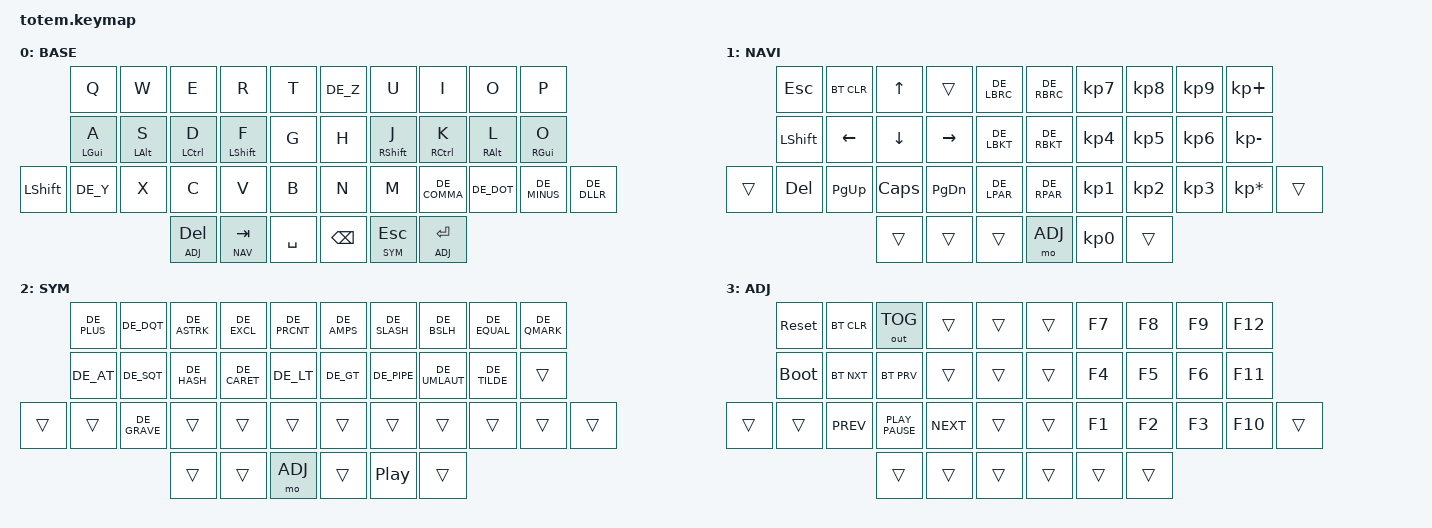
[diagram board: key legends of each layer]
//
//                                                        ▀▀▀▀▀     ▀▀▀▀▀          ▀▀█▀▀
//                                                        ▄▀▀▀▄  ▄  ▄▀▀▀▄  ▄  ▄▀▀▀▄  █  ▄▀▀▀▄
//                                                        █   █  █  █   █  █  █   █  █  █   █
//                                                         ▀▀▀   █   ▀▀▀   █   ▀▀▀   ▀   ▀▀▀
//                                                               █      ▄▄▄█▄▄▄    █   █  
//                                                               ▀      █  █  █     █▄█
//                                                             ▀▀▀▀▀    █  █  █      ▀
//                                                                      ▀  ▀  ▀
//
// ▄▄▄▄▄▄▄▄▄▄▄▄▄▄▄▄▄▄▄▄▄▄▄▄▄▄▄▄▄▄▄▄▄▄▄▄▄▄▄▄▄▄▄▄▄▄▄▄▄▄▄▄▄▄▄▄▄▄▄▄▄▄▄▄▄▄▄▄▄▄▄▄▄▄▄▄▄▄▄▄▄▄▄▄▄▄▄▄▄▄▄▄▄▄▄▄▄▄▄▄▄▄▄▄▄▄▄▄▄▄▄▄▄▄▄▄▄▄▄▄▄▄▄▄▄▄▄▄▄▄▄▄▄▄▄▄▄▄▄▄▄▄▄▄▄▄▄▄▄

#include <behaviors.dtsi>
#include <dt-bindings/zmk/bt.h>
#include <dt-bindings/zmk/keys.h>
#include <dt-bindings/zmk/outputs.h>
#include "zmk-helpers/helper.h"
#include "zmk-helpers/key-labels/totem.h"
#include <locale/keys_de_swiss.h>

#define BASE 0
#define NAV  1
#define SYM  2
#define ADJ  3

#define KEYS_L LT0 LT1 LT2 LT3 LT4 LM0 LM1 LM2 LM3 LM4 LB0 LB1 LB2 LB3 LB4 LB5  // left hand
#define KEYS_R RT0 RT1 RT2 RT3 RT4 RM0 RM1 RM2 RM3 RM4 RB0 RB1 RB2 RB3 RB4 RB5  // right hand
#define THUMBS LH2 LH1 LH0 RH0 RH1 RH2

#define COMBO_TERM_FAST 20
#define COMBO_TERM_SLOW 30
#define COMBO_IDLE_FAST 120
#define COMBO_IDLE_SLOW 50

// Hack: Make HRM combos tap-only (cf, ZMK issue #544).
#define ZMK_COMBO_8(NAME, TAP, POS, LAYERS, COMBO_MS, IDLE_MS, HOLD, SIDE)     \
  MAKE_HRM(hm_combo_##NAME, &kp, TAP, SIDE THUMBS)                             \
  ZMK_COMBO_6(NAME, &hm_combo_##NAME HOLD 0, POS, LAYERS, COMBO_MS, IDLE_MS)

/* left-hand HRMs */
ZMK_HOLD_TAP(hml,
    flavor = "balanced";
    tapping-term-ms = <280>;
    quick-tap-ms = <175>;                // repeat on tap-into-hold
    require-prior-idle-ms = <120>;
    bindings = <&kp>, <&kp>;
    hold-trigger-key-positions = <KEYS_R THUMBS>;
    hold-trigger-on-release;             // delay positional check until key-release
)

/* right-hand HRMs */
ZMK_HOLD_TAP(hmr,
    flavor = "balanced";
    tapping-term-ms = <280>;
    quick-tap-ms = <175>;                // repeat on tap-into-hold
    require-prior-idle-ms = <120>;
    bindings = <&kp>, <&kp>;
    hold-trigger-key-positions = <KEYS_L THUMBS>;
    hold-trigger-on-release;             // delay positional check until key-release
)

&caps_word {
  continue-list = <LSHIFT RSHIFT DEL BSPC UNDERSCORE KP_MINUS KP_N0 KP_N1 KP_N2 KP_N3 KP_N4 KP_N5 KP_N6 KP_N7 KP_N8 KP_N9>;
};

// Brace combos
ZMK_COMBO(lbrc,  &kp DE_LBRC,     RT1 RT2,    BASE NAV SYM, COMBO_TERM_FAST, COMBO_IDLE_FAST)
ZMK_COMBO(rbrc,  &kp DE_RBRC,     RT2 RT3,    BASE NAV SYM, COMBO_TERM_FAST, COMBO_IDLE_FAST)
ZMK_COMBO(lbkt,  &kp DE_LBKT,     RM1 RM2,    BASE NAV SYM, COMBO_TERM_FAST, COMBO_IDLE_FAST)
ZMK_COMBO(rbkt,  &kp DE_RBKT,     RM2 RM3,    BASE NAV SYM, COMBO_TERM_FAST, COMBO_IDLE_FAST)
ZMK_COMBO(lpar,  &kp DE_LPAR,     RB1 RB2,    BASE NAV SYM, COMBO_TERM_FAST, COMBO_IDLE_FAST)
ZMK_COMBO(rpar,  &kp DE_RPAR,     RB2 RB3,    BASE NAV SYM, COMBO_TERM_FAST, COMBO_IDLE_FAST)

// Copy-paste
ZMK_COMBO(cut,   &kp LC(X),       LB3 LB1,    BASE NAV SYM, COMBO_TERM_FAST, COMBO_IDLE_FAST)
ZMK_COMBO(copy,  &kp LC(INS),     LB3 LB2,    BASE NAV SYM, COMBO_TERM_FAST, COMBO_IDLE_FAST)
ZMK_COMBO(paste, &kp LS(INS),     LB2 LB1,    BASE NAV SYM, COMBO_TERM_FAST, COMBO_IDLE_FAST)

// Capsword
ZMK_COMBO(cwcombo, &caps_word,    LM4 LM3,    BASE NAV SYM, COMBO_TERM_SLOW, COMBO_IDLE_SLOW)

// Enter
ZMK_COMBO(renter,  &kp RET,   RM1 RM2 RM3,    BASE NAV SYM, COMBO_TERM_SLOW, COMBO_IDLE_SLOW)
ZMK_COMBO(lenter,  &kp RET,   LM1 LM2 LM3,    BASE NAV SYM, COMBO_TERM_SLOW, COMBO_IDLE_SLOW)

// Esc
ZMK_COMBO(lesc,    &kp ESC,       LT4 LT3,    BASE NAV SYM, COMBO_TERM_FAST, COMBO_IDLE_FAST)

/ {
    combos {
      compatible = "zmk,combos";
    };
    
    macros {
    };

    keymap {
        compatible = "zmk,keymap";

        // ▄▄▄▄▄▄▄▄▄▄▄▄▄▄▄▄▄▄▄▄▄▄▄▄▄▄▄▄▄▄▄▄▄▄▄▄▄▄▄▄▄▄▄▄▄▄▄▄▄▄▄▄▄▄▄▄▄▄▄▄▄▄▄▄▄▄▄▄▄▄▄▄▄▄▄▄▄▄▄▄▄▄▄▄▄▄▄▄▄▄▄▄▄▄▄▄▄▄▄▄▄▄▄▄▄▄▄▄▄▄▄▄▄▄▄▄▄▄▄▄▄▄▄▄▄▄▄▄▄▄▄▄▄▄▄▄▄▄▄▄▄▄▄▄▄▄▄▄▄

        base_layer {
            // ┏━━━━━━━━━━━━━━━━━━━━━━━━━━━━━━━━━━━━━━━┓
            label= "BASE"                              ;
            // ┗━━━━━━━━━━━━━━━━━━━━━━━━━━━━━━━━━━━━━━━┛
            //             ┏━━━━━━━━━━━┳━━━━━━━━━━━┳━━━━━━━━━━━┳━━━━━━━━━━━┳━━━━━━━━━━━┓   ┏━━━━━━━━━━━┳━━━━━━━━━━━┳━━━━━━━━━━━┳━━━━━━━━━━━┳━━━━━━━━━━━┓
            //             ┃     Q     ┃     W     ┃     E     ┃     R     ┃     T     ┃   ┃     Z     ┃     U     ┃     I     ┃     O     ┃     P     ┃
            //             ┣━━━━━━━━━━━╋━━━━━━━━━━━╋━━━━━━━━━━━╋━━━━━━━━━━━╋━━━━━━━━━━━┫   ┣━━━━━━━━━━━╋━━━━━━━━━━━╋━━━━━━━━━━━╋━━━━━━━━━━━╋━━━━━━━━━━━┫
            //             ┃     A     ┃     S     ┃     D     ┃     F     ┃     G     ┃   ┃     H     ┃     J     ┃     K     ┃     L     ┃           ┃
            // ┏━━━━━━━━━━━╋━━━━━━━━━━━╋━━━━━━━━━━━╋━━━━━━━━━━━╋━━━━━━━━━━━╋━━━━━━━━━━━┫   ┣━━━━━━━━━━━╋━━━━━━━━━━━╋━━━━━━━━━━━╋━━━━━━━━━━━╋━━━━━━━━━━━╋━━━━━━━━━━━┓
            // ┃   SHFT    ┃     Y     ┃     X     ┃     C     ┃     V     ┃     B     ┃   ┃     N     ┃     M     ┃     ,     ┃     .     ┃     -     ┃     $     ┃
            // ┗━━━━━━━━━━━┻━━━━━━━━━━━┻━━━━━━━━━━━╋━━━━━━━━━━━╋━━━━━━━━━━━╋━━━━━━━━━━━┫   ┣━━━━━━━━━━━╋━━━━━━━━━━━╋━━━━━━━━━━━╋━━━━━━━━━━━┻━━━━━━━━━━━┻━━━━━━━━━━━┛
            //                                     ┃    DEL    ┃    TAB    ┃    SPC    ┃   ┃   ENTER   ┃           ┃   BSPC    ┃
            //                                     ┗━━━━━━━━━━━┻━━━━━━━━━━━┻━━━━━━━━━━━┛   ┗━━━━━━━━━━━┻━━━━━━━━━━━┻━━━━━━━━━━━┛
             bindings = <
            // ╷           ╷           ╷           ╷           ╷           ╷           ╷   ╷           ╷           ╷           ╷           ╷           ╷           ╷
            
                            &kp Q       &kp W       &kp E        &kp R        &kp T           &kp DE_Z    &kp U        &kp I        &kp O        &kp P
                            &hml LGUI A &hml LALT S &hml LCTRL D &hml LSHFT F &kp G           &kp H       &hmr RSHFT J &hmr RCTRL K &hmr RALT L  &hmr RGUI O
                &kp LSHFT   &kp DE_Y    &kp X       &kp C        &kp V        &kp B           &kp N       &kp M        &kp DE_COMMA &kp DE_DOT   &kp DE_MINUS &kp DE_DLLR
                                                    &lt ADJ DEL  &lt NAV TAB  &kp SPACE       &kp BSPC    &lt SYM ESC  &lt ADJ RET
                                    >;
                            };


        // ▄▄▄▄▄▄▄▄▄▄▄▄▄▄▄▄▄▄▄▄▄▄▄▄▄▄▄▄▄▄▄▄▄▄▄▄▄▄▄▄▄▄▄▄▄▄▄▄▄▄▄▄▄▄▄▄▄▄▄▄▄▄▄▄▄▄▄▄▄▄▄▄▄▄▄▄▄▄▄▄▄▄▄▄▄▄▄▄▄▄▄▄▄▄▄▄▄▄▄▄▄▄▄▄▄▄▄▄▄▄▄▄▄▄▄▄▄▄▄▄▄▄▄▄▄▄▄▄▄▄▄▄▄▄▄▄▄▄▄▄▄▄▄▄▄▄▄▄▄

        nav_layer {
            // ┏━━━━━━━━━━━━━━━━━━━━━━━━━━━━━━━━━━━━━━━┓

            label = "NAVI";

            // ┗━━━━━━━━━━━━━━━━━━━━━━━━━━━━━━━━━━━━━━━┛
            //             ┏━━━━━━━━━━━┳━━━━━━━━━━━┳━━━━━━━━━━━┳━━━━━━━━━━━┳━━━━━━━━━━━┓   ┏━━━━━━━━━━━┳━━━━━━━━━━━┳━━━━━━━━━━━┳━━━━━━━━━━━┳━━━━━━━━━━━┓
            //             ┃           ┃           ┃     UP    ┃           ┃     {     ┃   ┃     }     ┃     7     ┃     8     ┃     9     ┃     +     ┃
            //             ┣━━━━━━━━━━━╋━━━━━━━━━━━╋━━━━━━━━━━━╋━━━━━━━━━━━╋━━━━━━━━━━━┫   ┣━━━━━━━━━━━╋━━━━━━━━━━━╋━━━━━━━━━━━╋━━━━━━━━━━━╋━━━━━━━━━━━┫
            //             ┃   SHIFT   ┃   LEFT    ┃    DOWN   ┃   RIGHT   ┃     [     ┃   ┃     ]     ┃     4     ┃     5     ┃     6     ┃     -     ┃
            // ┏━━━━━━━━━━━╋━━━━━━━━━━━╋━━━━━━━━━━━╋━━━━━━━━━━━╋━━━━━━━━━━━╋━━━━━━━━━━━┫   ┣━━━━━━━━━━━╋━━━━━━━━━━━╋━━━━━━━━━━━╋━━━━━━━━━━━╋━━━━━━━━━━━╋━━━━━━━━━━━┓
            // ┃           ┃           ┃   P UP    ┃  C LOCK   ┃  P DOWN   ┃     (     ┃   ┃     )     ┃     1     ┃     2     ┃     3     ┃     *     ┃           ┃
            // ┗━━━━━━━━━━━┻━━━━━━━━━━━┻━━━━━━━━━━━╋━━━━━━━━━━━╋━━━━━━━━━━━╋━━━━━━━━━━━┫   ┣━━━━━━━━━━━╋━━━━━━━━━━━╋━━━━━━━━━━━╋━━━━━━━━━━━┻━━━━━━━━━━━┻━━━━━━━━━━━┛
            //                                     ┃           ┃    TAB    ┃    SPC    ┃   ┃    DEL    ┃     0     ┃           ┃
            //                                     ┗━━━━━━━━━━━┻━━━━━━━━━━━┻━━━━━━━━━━━┛   ┗━━━━━━━━━━━┻━━━━━━━━━━━┻━━━━━━━━━━━┛

            bindings = <
        &kp ESC    &bt BT_CLR  &kp UP    &trans     &kp DE_LBRC    &kp DE_RBRC  &kp KP_N7  &kp KP_N8  &kp KP_N9  &kp KP_PLUS
        &kp LSHFT  &kp LEFT    &kp DOWN  &kp RIGHT  &kp DE_LBKT    &kp DE_RBKT  &kp KP_N4  &kp KP_N5  &kp KP_N6  &kp KP_MINUS
&trans  &kp DEL    &kp PG_UP   &kp CAPS  &kp PG_DN  &kp DE_LPAR    &kp DE_RPAR  &kp KP_N1  &kp KP_N2  &kp KP_N3  &kp KP_MULTIPLY  &trans
                               &trans    &trans     &trans         &mo ADJ      &kp KP_N0  &trans
            >;
        };

        // ▄▄▄▄▄▄▄▄▄▄▄▄▄▄▄▄▄▄▄▄▄▄▄▄▄▄▄▄▄▄▄▄▄▄▄▄▄▄▄▄▄▄▄▄▄▄▄▄▄▄▄▄▄▄▄▄▄▄▄▄▄▄▄▄▄▄▄▄▄▄▄▄▄▄▄▄▄▄▄▄▄▄▄▄▄▄▄▄▄▄▄▄▄▄▄▄▄▄▄▄▄▄▄▄▄▄▄▄▄▄▄▄▄▄▄▄▄▄▄▄▄▄▄▄▄▄▄▄▄▄▄▄▄▄▄▄▄▄▄▄▄▄▄▄▄▄▄▄▄

        sim_layer {
            // ┏━━━━━━━━━━━━━━━━━━━━━━━━━━━━━━━━━━━━━━━┓

            label = "SYM";

            // ┗━━━━━━━━━━━━━━━━━━━━━━━━━━━━━━━━━━━━━━━┛
            //             ┏━━━━━━━━━━━┳━━━━━━━━━━━┳━━━━━━━━━━━┳━━━━━━━━━━━┳━━━━━━━━━━━┓   ┏━━━━━━━━━━━┳━━━━━━━━━━━┳━━━━━━━━━━━┳━━━━━━━━━━━┳━━━━━━━━━━━┓
            //             ┃     +     ┃     "     ┃     *     ┃     !     ┃     %     ┃   ┃     &     ┃     /     ┃     \     ┃     =     ┃     ?     ┃
            //             ┣━━━━━━━━━━━╋━━━━━━━━━━━╋━━━━━━━━━━━╋━━━━━━━━━━━╋━━━━━━━━━━━┫   ┣━━━━━━━━━━━╋━━━━━━━━━━━╋━━━━━━━━━━━╋━━━━━━━━━━━╋━━━━━━━━━━━┫
            //             ┃     @     ┃     '     ┃     #     ┃     ^     ┃     <     ┃   ┃     >     ┃     |     ┃     ¨     ┃     ~     ┃           ┃
            // ┏━━━━━━━━━━━╋━━━━━━━━━━━╋━━━━━━━━━━━╋━━━━━━━━━━━╋━━━━━━━━━━━╋━━━━━━━━━━━┫   ┣━━━━━━━━━━━╋━━━━━━━━━━━╋━━━━━━━━━━━╋━━━━━━━━━━━╋━━━━━━━━━━━╋━━━━━━━━━━━┓
            // ┃           ┃           ┃     `     ┃           ┃           ┃           ┃   ┃           ┃           ┃           ┃           ┃           ┃           ┃
            // ┗━━━━━━━━━━━┻━━━━━━━━━━━┻━━━━━━━━━━━╋━━━━━━━━━━━╋━━━━━━━━━━━╋━━━━━━━━━━━┫   ┣━━━━━━━━━━━╋━━━━━━━━━━━╋━━━━━━━━━━━╋━━━━━━━━━━━┻━━━━━━━━━━━┻━━━━━━━━━━━┛
            //                                     ┃           ┃    GIF    ┃    ADJ    ┃   ┃           ┃           ┃           ┃
            //                                     ┗━━━━━━━━━━━┻━━━━━━━━━━━┻━━━━━━━━━━━┛   ┗━━━━━━━━━━━┻━━━━━━━━━━━┻━━━━━━━━━━━┛

            bindings = <
            &kp DE_PLUS  &kp DE_DQT   &kp DE_ASTRK  &kp DE_EXCL   &kp DE_PRCNT                    &kp DE_AMPS  &kp DE_SLASH  &kp DE_BSLH   &kp DE_EQUAL  &kp DE_QMARK 
            &kp DE_AT    &kp DE_SQT   &kp DE_HASH   &kp DE_CARET  &kp DE_LT                       &kp DE_GT    &kp DE_PIPE   &kp DE_UMLAUT &kp DE_TILDE  &trans
   &trans   &trans       &kp DE_GRAVE &trans        &trans        &trans                          &trans       &trans        &trans        &trans        &trans   &trans
                                      &trans        &trans        &mo ADJ                         &trans       &kp C_PP      &trans
            >;
        };

        // ▄▄▄▄▄▄▄▄▄▄▄▄▄▄▄▄▄▄▄▄▄▄▄▄▄▄▄▄▄▄▄▄▄▄▄▄▄▄▄▄▄▄▄▄▄▄▄▄▄▄▄▄▄▄▄▄▄▄▄▄▄▄▄▄▄▄▄▄▄▄▄▄▄▄▄▄▄▄▄▄▄▄▄▄▄▄▄▄▄▄▄▄▄▄▄▄▄▄▄▄▄▄▄▄▄▄▄▄▄▄▄▄▄▄▄▄▄▄▄▄▄▄▄▄▄▄▄▄▄▄▄▄▄▄▄▄▄▄▄▄▄▄▄▄▄▄▄▄▄

        adjust_layer {
            // ┏━━━━━━━━━━━━━━━━━━━━━━━━━━━━━━━━━━━━━━━┓

            label = "ADJ";

            // ┗━━━━━━━━━━━━━━━━━━━━━━━━━━━━━━━━━━━━━━━┛
            //             ┏━━━━━━━━━━━┳━━━━━━━━━━━┳━━━━━━━━━━━┳━━━━━━━━━━━┳━━━━━━━━━━━┓   ┏━━━━━━━━━━━┳━━━━━━━━━━━┳━━━━━━━━━━━┳━━━━━━━━━━━┳━━━━━━━━━━━┓
            //             ┃   RESET   ┃ BT CLEAR  ┃  OUT TOG  ┃           ┃           ┃   ┃           ┃    F7     ┃    F8     ┃    F9     ┃    F12    ┃
            //             ┣━━━━━━━━━━━╋━━━━━━━━━━━╋━━━━━━━━━━━╋━━━━━━━━━━━╋━━━━━━━━━━━┫   ┣━━━━━━━━━━━╋━━━━━━━━━━━╋━━━━━━━━━━━╋━━━━━━━━━━━╋━━━━━━━━━━━┫
            //             ┃ BOOTLOAD  ┃ BT NEXT   ┃  BT PREV  ┃           ┃           ┃   ┃           ┃    F4     ┃    F5     ┃    F6     ┃    F11    ┃
            // ┏━━━━━━━━━━━╋━━━━━━━━━━━╋━━━━━━━━━━━╋━━━━━━━━━━━╋━━━━━━━━━━━╋━━━━━━━━━━━┫   ┣━━━━━━━━━━━╋━━━━━━━━━━━╋━━━━━━━━━━━╋━━━━━━━━━━━╋━━━━━━━━━━━╋━━━━━━━━━━━┓
            // ┃           ┃           ┃   PREV    ┃  PAUSE    ┃  NEXT     ┃           ┃   ┃           ┃    F1     ┃    F2     ┃    F3     ┃    F10    ┃           ┃
            // ┗━━━━━━━━━━━┻━━━━━━━━━━━┻━━━━━━━━━━━╋━━━━━━━━━━━╋━━━━━━━━━━━╋━━━━━━━━━━━┫   ┣━━━━━━━━━━━╋━━━━━━━━━━━╋━━━━━━━━━━━╋━━━━━━━━━━━┻━━━━━━━━━━━┻━━━━━━━━━━━┛
            //                                     ┃           ┃           ┃           ┃   ┃           ┃           ┃           ┃
            //                                     ┗━━━━━━━━━━━┻━━━━━━━━━━━┻━━━━━━━━━━━┛   ┗━━━━━━━━━━━┻━━━━━━━━━━━┻━━━━━━━━━━━┛

            bindings = <
        &sys_reset   &bt BT_CLR  &out OUT_TOG      &trans      &trans                              &trans  &kp F7  &kp F8  &kp F9  &kp F12
        &bootloader  &bt BT_NXT  &bt BT_PRV        &trans      &trans                              &trans  &kp F4  &kp F5  &kp F6  &kp F11
&trans  &trans       &kp K_PREV  &kp K_PLAY_PAUSE  &kp K_NEXT  &trans                              &trans  &kp F1  &kp F2  &kp F3  &kp F10  &trans
                                 &trans            &trans      &trans                              &trans  &trans  &trans
             >;
        };
    };
};
